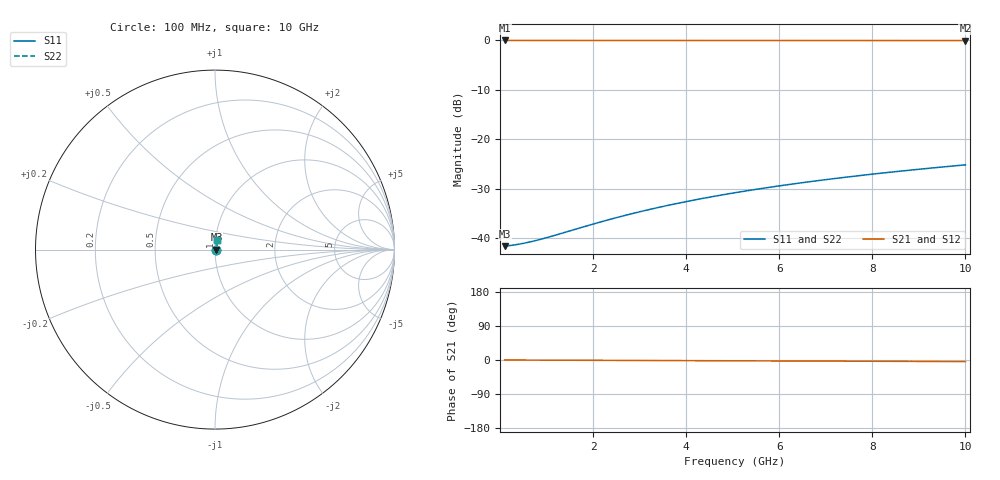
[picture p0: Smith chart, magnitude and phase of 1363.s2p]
# Hz S RI R 50.00
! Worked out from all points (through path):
!   100 points, 100 MHz to 10 GHz, reference 50 ohm
!   highest |S21| = -0.07 dB at 100 MHz (marker M1); lowest = -0.1 dB at 10 GHz (marker M2)
!   lowest |S11| = -41.6 dB at 100 MHz (marker M3), VSWR 1.02, Z = 50.8 + j0.0547 ohm
!   |S11| at or under -10 dB: start of sweep to end of sweep
!   |S22| runs from -41.6 to -25.2 dB; largest |S21 - S12| = 0
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1e8  0.00831 0.000538  0.9917 -0.000718  0.9917 -0.000718  0.00831 0.000538
3e8  0.00841 0.00161  0.9916 -0.00215  0.9916 -0.00215  0.00841 0.00161
4e8  0.00845 0.00215  0.9916 -0.00287  0.9916 -0.00287  0.00845 0.00215
5e8  0.00848 0.00269  0.9915 -0.00359  0.9915 -0.00359  0.00848 0.00269
7e8  0.00853 0.00376  0.9915 -0.00502  0.9915 -0.00502  0.00853 0.00376
9e8  0.00858 0.00484  0.9914 -0.00646  0.9914 -0.00646  0.00858 0.00484
1.1e9  0.00863 0.00591  0.9914 -0.00789  0.9914 -0.00789  0.00863 0.00591
1.8e9  0.00879 0.00967  0.9912 -0.0129  0.9912 -0.0129  0.00879 0.00967
2.2e9  0.00889 0.0118  0.9911 -0.0158  0.9911 -0.0158  0.00889 0.0118
2.6e9  0.009 0.014  0.991 -0.0186  0.991 -0.0186  0.009 0.014
3e9  0.00911 0.0161  0.9909 -0.0215  0.9909 -0.0215  0.00911 0.0161
3.4e9  0.00924 0.0183  0.9907 -0.0244  0.9907 -0.0244  0.00924 0.0183
3.8e9  0.00938 0.0204  0.9906 -0.0272  0.9906 -0.0272  0.00938 0.0204
4.2e9  0.00952 0.0225  0.9904 -0.0301  0.9904 -0.0301  0.00952 0.0225
4.6e9  0.00968 0.0247  0.9903 -0.033  0.9903 -0.033  0.00968 0.0247
5.1e9  0.0099 0.0274  0.9901 -0.0366  0.9901 -0.0366  0.0099 0.0274
5.9e9  0.0103 0.0316  0.9897 -0.0423  0.9897 -0.0423  0.0103 0.0316
6.7e9  0.0107 0.0359  0.9892 -0.048  0.9892 -0.048  0.0107 0.0359
7.5e9  0.0112 0.0402  0.9887 -0.0537  0.9887 -0.0537  0.0112 0.0402
8.4e9  0.0118 0.045  0.9881 -0.0602  0.9881 -0.0602  0.0118 0.045
9.2e9  0.0124 0.0493  0.9875 -0.0659  0.9875 -0.0659  0.0124 0.0493
1e10  0.013 0.0535  0.9868 -0.0716  0.9868 -0.0716  0.013 0.0535
